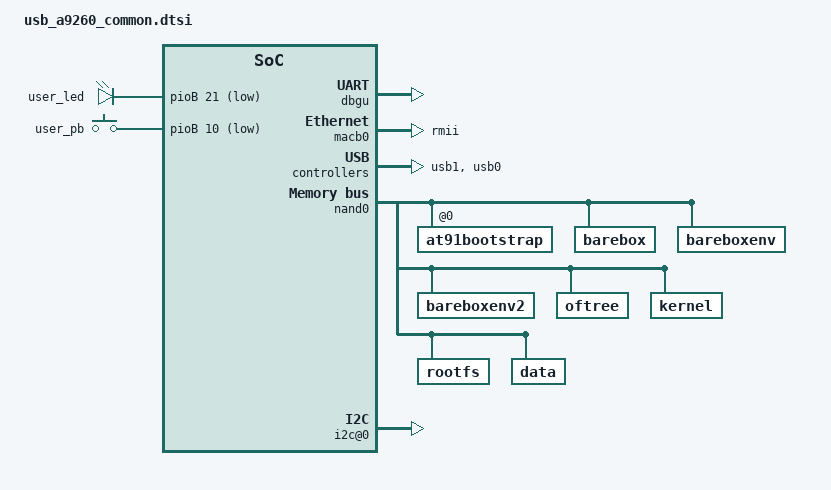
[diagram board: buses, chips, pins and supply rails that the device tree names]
/*
 * usb_a926x.dts - Device Tree file for Caloa USB A926x board
 *
 *  Copyright (C) 2011-2012 Jean-Christophe PLAGNIOL-VILLARD <plagnioj@jcrosoft.com>
 *
 * Licensed under GPLv2 or later.
 */

/ {
	clocks {
		#address-cells = <1>;
		#size-cells = <1>;
		ranges;

		main_clock: clock@0 {
			compatible = "atmel,osc", "fixed-clock";
			clock-frequency = <12000000>;
		};
	};

	ahb {
		apb {
			dbgu: serial@fffff200 {
				status = "okay";
			};

			macb0: ethernet@fffc4000 {
				phy-mode = "rmii";
				status = "okay";
			};

			usb1: gadget@fffa4000 {
				atmel,vbus-gpio = <&pioC 5 0>;
				status = "okay";
			};
		};

		nand0: nand@40000000 {
			nand-bus-width = <8>;
			nand-ecc-mode = "soft";
			nand-on-flash-bbt;
			status = "okay";

			at91bootstrap@0 {
				label = "at91bootstrap";
				reg = <0x0 0x20000>;
			};

			barebox@20000 {
				label = "barebox";
				reg = <0x20000 0x40000>;
			};

			bareboxenv@60000 {
				label = "bareboxenv";
				reg = <0x60000 0x20000>;
			};

			bareboxenv2@80000 {
				label = "bareboxenv2";
				reg = <0x80000 0x20000>;
			};

			oftree@80000 {
				label = "oftree";
				reg = <0xa0000 0x20000>;
			};

			kernel@a0000 {
				label = "kernel";
				reg = <0xc0000 0x400000>;
			};

			rootfs@4a0000 {
				label = "rootfs";
				reg = <0x4c0000 0x7800000>;
			};

			data@7ca0000 {
				label = "data";
				reg = <0x7cc0000 0x8340000>;
			};
		};

		usb0: ohci@00500000 {
			num-ports = <2>;
			status = "okay";
		};
	};

	leds {
		compatible = "gpio-leds";

		user_led {
			label = "user_led";
			gpios = <&pioB 21 1>;
			linux,default-trigger = "heartbeat";
		};
	};

	gpio_keys {
		compatible = "gpio-keys";
		#address-cells = <1>;
		#size-cells = <0>;

		user_pb {
			label = "user_pb";
			gpios = <&pioB 10 1>;
			linux,code = <28>;
			gpio-key,wakeup;
		};
	};

	i2c@0 {
		status = "okay";
	};
};
